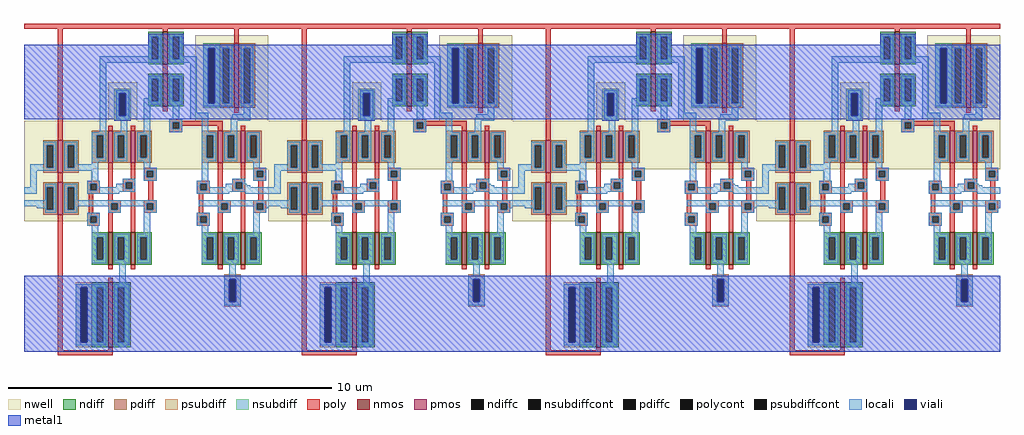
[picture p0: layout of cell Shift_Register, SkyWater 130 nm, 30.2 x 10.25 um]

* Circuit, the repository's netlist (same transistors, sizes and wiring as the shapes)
* NGSPICE file created from Shift_Register.ext - technology: sky130A

.subckt Dlatch_complement GND D_bar D VDD Phi Q Q_bar
X0 VDD a_n910_50# a_n910_310# VDD sky130_fd_pr__pfet_01v8 ad=0.275 pd=1.55 as=0.5 ps=3 w=1 l=0.15
X1 Q_bar Q a_80_370# VDD sky130_fd_pr__pfet_01v8 ad=0.5 pd=3 as=0.275 ps=1.55 w=1 l=0.15
X2 a_n910_50# a_n910_310# VDD VDD sky130_fd_pr__pfet_01v8 ad=0.5 pd=3 as=0.275 ps=1.55 w=1 l=0.15
X3 Q_bar Phi a_n910_50# GND sky130_fd_pr__nfet_01v8 ad=0.5 pd=3 as=0.45 ps=2.9 w=1 l=0.15
X4 a_n600_n770# a_n910_50# a_n910_310# GND sky130_fd_pr__nfet_01v8 ad=0.275 pd=1.55 as=0.5 ps=3 w=1 l=0.15
X5 a_n910_50# Phi D_bar VDD sky130_fd_pr__pfet_01v8 ad=0.5 pd=3 as=0.45 ps=2.9 w=1 l=0.15
X6 a_n600_n770# Phi GND GND sky130_fd_pr__nfet_01v8 ad=1.1 pd=5.1 as=1 ps=5 w=2 l=0.15
X7 a_80_370# Phi VDD VDD sky130_fd_pr__pfet_01v8 ad=1 pd=5 as=0.9 ps=4.9 w=2 l=0.15
X8 Q Phi a_n910_310# GND sky130_fd_pr__nfet_01v8 ad=0.5 pd=3 as=0.45 ps=2.9 w=1 l=0.15
X9 a_n910_310# Phi D VDD sky130_fd_pr__pfet_01v8 ad=0.5 pd=3 as=0.45 ps=2.9 w=1 l=0.15
X10 a_80_370# Q_bar Q VDD sky130_fd_pr__pfet_01v8 ad=0.275 pd=1.55 as=0.5 ps=3 w=1 l=0.15
X11 Q_bar Q GND GND sky130_fd_pr__nfet_01v8 ad=0.5 pd=3 as=0.275 ps=1.55 w=1 l=0.15
X12 GND Q_bar Q GND sky130_fd_pr__nfet_01v8 ad=0.275 pd=1.55 as=0.5 ps=3 w=1 l=0.15
X13 a_n910_50# a_n910_310# a_n600_n770# GND sky130_fd_pr__nfet_01v8 ad=0.5 pd=3 as=0.275 ps=1.55 w=1 l=0.15
.ends

.subckt Latch GND D_bar D VDD Phi Q Q_bar
X0 VDD a_n910_50# a_n910_310# VDD sky130_fd_pr__pfet_01v8 ad=0.275 pd=1.55 as=0.5 ps=3 w=1 l=0.15
X1 Q_bar Q a_80_370# VDD sky130_fd_pr__pfet_01v8 ad=0.5 pd=3 as=0.275 ps=1.55 w=1 l=0.15
X2 a_n910_50# a_n910_310# VDD VDD sky130_fd_pr__pfet_01v8 ad=0.5 pd=3 as=0.275 ps=1.55 w=1 l=0.15
X3 Q_bar Phi a_n910_50# GND sky130_fd_pr__nfet_01v8 ad=0.5 pd=3 as=0.45 ps=2.9 w=1 l=0.15
X4 a_n600_n770# a_n910_50# a_n910_310# GND sky130_fd_pr__nfet_01v8 ad=0.275 pd=1.55 as=0.5 ps=3 w=1 l=0.15
X5 a_n910_50# Phi D_bar VDD sky130_fd_pr__pfet_01v8 ad=0.5 pd=3 as=0.45 ps=2.9 w=1 l=0.15
X6 a_n600_n770# Phi GND GND sky130_fd_pr__nfet_01v8 ad=1.1 pd=5.1 as=1 ps=5 w=2 l=0.15
X7 a_80_370# Phi VDD VDD sky130_fd_pr__pfet_01v8 ad=1 pd=5 as=0.9 ps=4.9 w=2 l=0.15
X8 Q Phi a_n910_310# GND sky130_fd_pr__nfet_01v8 ad=0.5 pd=3 as=0.45 ps=2.9 w=1 l=0.15
X9 a_n910_310# Phi D VDD sky130_fd_pr__pfet_01v8 ad=0.5 pd=3 as=0.45 ps=2.9 w=1 l=0.15
X10 a_80_370# Q_bar Q VDD sky130_fd_pr__pfet_01v8 ad=0.275 pd=1.55 as=0.5 ps=3 w=1 l=0.15
X11 Q_bar Q GND GND sky130_fd_pr__nfet_01v8 ad=0.5 pd=3 as=0.275 ps=1.55 w=1 l=0.15
X12 GND Q_bar Q GND sky130_fd_pr__nfet_01v8 ad=0.275 pd=1.55 as=0.5 ps=3 w=1 l=0.15
X13 a_n910_50# a_n910_310# a_n600_n770# GND sky130_fd_pr__nfet_01v8 ad=0.5 pd=3 as=0.275 ps=1.55 w=1 l=0.15
.ends


* Top level circuit Shift_Register

XDlatch_complement_0 VSUBS Dlatch_complement_0/D_bar Dlatch_complement_0/D Latch_2/VDD
+ Latch_2/Phi Latch_0/D Latch_0/D_bar Dlatch_complement
XLatch_0 VSUBS Latch_0/D_bar Latch_0/D Latch_2/VDD Latch_2/Phi Latch_1/D Latch_1/D_bar
+ Latch
XLatch_1 VSUBS Latch_1/D_bar Latch_1/D Latch_2/VDD Latch_2/Phi Latch_2/D Latch_2/D_bar
+ Latch
XLatch_2 VSUBS Latch_2/D_bar Latch_2/D Latch_2/VDD Latch_2/Phi Latch_2/Q Latch_2/Q_bar
+ Latch
.end

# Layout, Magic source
magic
tech sky130A
use Latch  Latch_0 ~/Documents/MADVLSI/Homework2
transform 1 0 1055 0 1 405
box -575 -410 180 615
use Latch  Latch_1
transform 1 0 1810 0 1 405
box -575 -410 180 615
use Latch  Latch_2
transform 1 0 2565 0 1 405
box -575 -410 180 615
use Latch  Latch_3
transform 1 0 3320 0 1 405
box -575 -410 180 615
<< end >>

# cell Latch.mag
magic
tech sky130A
<< nwell >>
rect -315 315 -225 435
rect -45 315 180 580
rect -575 165 180 315
rect -575 10 -365 165
rect -575 5 -380 10
<< nmos >>
rect -145 490 -130 590
rect -145 360 -130 460
rect -315 -130 -300 -30
rect -245 -130 -230 -30
rect 25 -130 40 -30
rect 95 -130 110 -30
rect -315 -385 -300 -185
<< pmos >>
rect 75 355 90 555
rect -470 155 -455 255
rect -315 185 -300 285
rect -245 185 -230 285
rect 25 185 40 285
rect 95 185 110 285
rect -470 25 -455 125
<< ndiff >>
rect -190 575 -145 590
rect -190 505 -180 575
rect -160 505 -145 575
rect -190 490 -145 505
rect -130 575 -80 590
rect -130 505 -115 575
rect -95 505 -80 575
rect -130 490 -80 505
rect -190 445 -145 460
rect -190 375 -180 445
rect -160 375 -145 445
rect -190 360 -145 375
rect -130 445 -80 460
rect -130 375 -115 445
rect -95 375 -80 445
rect -130 360 -80 375
rect -365 -45 -315 -30
rect -365 -115 -350 -45
rect -330 -115 -315 -45
rect -365 -130 -315 -115
rect -300 -45 -245 -30
rect -300 -115 -285 -45
rect -265 -115 -245 -45
rect -300 -130 -245 -115
rect -230 -45 -180 -30
rect -230 -115 -215 -45
rect -195 -115 -180 -45
rect -230 -130 -180 -115
rect -25 -45 25 -30
rect -25 -115 -10 -45
rect 10 -115 25 -45
rect -25 -130 25 -115
rect 40 -45 95 -30
rect 40 -115 55 -45
rect 75 -115 95 -45
rect 40 -130 95 -115
rect 110 -45 160 -30
rect 110 -115 125 -45
rect 145 -115 160 -45
rect 110 -130 160 -115
rect -365 -200 -315 -185
rect -365 -370 -350 -200
rect -330 -370 -315 -200
rect -365 -385 -315 -370
rect -300 -200 -245 -185
rect -300 -370 -285 -200
rect -265 -370 -245 -200
rect -300 -385 -245 -370
<< pdiff >>
rect 30 540 75 555
rect 30 370 40 540
rect 60 370 75 540
rect 30 355 75 370
rect 90 540 140 555
rect 90 370 105 540
rect 125 370 140 540
rect 90 355 140 370
rect -365 270 -315 285
rect -515 240 -470 255
rect -515 170 -505 240
rect -485 170 -470 240
rect -515 155 -470 170
rect -455 240 -405 255
rect -455 170 -440 240
rect -420 170 -405 240
rect -365 200 -350 270
rect -330 200 -315 270
rect -365 185 -315 200
rect -300 270 -245 285
rect -300 200 -285 270
rect -265 200 -245 270
rect -300 185 -245 200
rect -230 270 -180 285
rect -230 200 -215 270
rect -195 200 -180 270
rect -230 185 -180 200
rect -25 270 25 285
rect -25 200 -10 270
rect 10 200 25 270
rect -25 185 25 200
rect 40 270 95 285
rect 40 200 55 270
rect 75 200 95 270
rect 40 185 95 200
rect 110 270 160 285
rect 110 200 125 270
rect 145 200 160 270
rect 110 185 160 200
rect -455 155 -405 170
rect -515 110 -470 125
rect -515 40 -505 110
rect -485 40 -470 110
rect -515 25 -470 40
rect -455 110 -405 125
rect -455 40 -440 110
rect -420 40 -405 110
rect -455 25 -405 40
<< ndiffc >>
rect -180 505 -160 575
rect -115 505 -95 575
rect -180 375 -160 445
rect -115 375 -95 445
rect -350 -115 -330 -45
rect -285 -115 -265 -45
rect -215 -115 -195 -45
rect -10 -115 10 -45
rect 55 -115 75 -45
rect 125 -115 145 -45
rect -350 -370 -330 -200
rect -285 -370 -265 -200
<< pdiffc >>
rect 40 370 60 540
rect 105 370 125 540
rect -505 170 -485 240
rect -440 170 -420 240
rect -350 200 -330 270
rect -285 200 -265 270
rect -215 200 -195 270
rect -10 200 10 270
rect 55 200 75 270
rect 125 200 145 270
rect -505 40 -485 110
rect -440 40 -420 110
<< psubdiff >>
rect 45 -175 95 -160
rect -415 -200 -365 -185
rect -415 -370 -400 -200
rect -380 -370 -365 -200
rect -415 -385 -365 -370
rect 45 -245 60 -175
rect 80 -245 95 -175
rect 45 -260 95 -245
<< nsubdiff >>
rect -20 540 30 555
rect -295 400 -245 415
rect -295 330 -280 400
rect -260 330 -245 400
rect -20 370 -5 540
rect 15 370 30 540
rect -20 355 30 370
rect -295 315 -245 330
<< psubdiffcont >>
rect -400 -370 -380 -200
rect 60 -245 80 -175
<< nsubdiffcont >>
rect -280 330 -260 400
rect -5 370 15 540
<< poly >>
rect -575 600 180 615
rect -470 255 -455 600
rect -145 590 -130 600
rect 75 555 90 600
rect -145 460 -130 490
rect -145 345 -130 360
rect 75 340 90 355
rect -125 315 -85 320
rect -125 310 40 315
rect -315 285 -300 300
rect -245 285 -230 300
rect -125 290 -115 310
rect -95 300 40 310
rect -95 290 -85 300
rect -125 280 -85 290
rect 25 285 40 300
rect 95 285 110 300
rect -470 125 -455 155
rect -380 120 -340 130
rect -380 100 -370 120
rect -350 100 -340 120
rect -380 90 -340 100
rect -375 30 -360 90
rect -315 70 -300 185
rect -245 135 -230 185
rect -270 125 -230 135
rect -205 160 -165 170
rect -205 140 -195 160
rect -175 140 -165 160
rect -205 130 -165 140
rect -270 105 -260 125
rect -240 105 -230 125
rect -270 95 -230 105
rect -315 60 -275 70
rect -315 40 -305 60
rect -285 40 -275 60
rect -315 30 -275 40
rect -470 -395 -455 25
rect -380 20 -340 30
rect -380 0 -370 20
rect -350 0 -340 20
rect -380 -10 -340 0
rect -315 -30 -300 30
rect -245 -30 -230 95
rect -190 70 -175 130
rect -40 120 0 130
rect -40 100 -30 120
rect -10 100 0 120
rect -40 90 0 100
rect -205 60 -165 70
rect -205 40 -195 60
rect -175 40 -165 60
rect -205 30 -165 40
rect -35 30 -20 90
rect 25 70 40 185
rect 95 135 110 185
rect 70 125 110 135
rect 135 160 175 170
rect 135 140 145 160
rect 165 140 175 160
rect 135 130 175 140
rect 70 105 80 125
rect 100 105 110 125
rect 70 95 110 105
rect 25 60 65 70
rect 25 40 35 60
rect 55 40 65 60
rect 25 30 65 40
rect -40 20 0 30
rect -40 0 -30 20
rect -10 0 0 20
rect -40 -10 0 0
rect 25 -30 40 30
rect 95 -30 110 95
rect 150 70 165 130
rect 135 60 175 70
rect 135 40 145 60
rect 165 40 175 60
rect 135 30 175 40
rect -315 -145 -300 -130
rect -245 -145 -230 -130
rect 25 -145 40 -130
rect 95 -145 110 -130
rect -315 -185 -300 -170
rect -315 -395 -300 -385
rect -470 -410 -300 -395
<< polycont >>
rect -115 290 -95 310
rect -370 100 -350 120
rect -195 140 -175 160
rect -260 105 -240 125
rect -305 40 -285 60
rect -370 0 -350 20
rect -30 100 -10 120
rect -195 40 -175 60
rect 145 140 165 160
rect 80 105 100 125
rect 35 40 55 60
rect -30 0 -10 20
rect 145 40 165 60
<< locali >>
rect -190 575 -150 585
rect -190 515 -180 575
rect -340 505 -180 515
rect -160 505 -150 575
rect -340 495 -150 505
rect -125 575 -85 585
rect -125 505 -115 575
rect -95 515 -85 575
rect -20 540 70 550
rect -95 505 -40 515
rect -125 495 -40 505
rect -340 280 -320 495
rect -190 445 -150 455
rect -290 400 -250 410
rect -290 330 -280 400
rect -260 330 -250 400
rect -190 385 -180 445
rect -290 320 -250 330
rect -205 375 -180 385
rect -160 375 -150 445
rect -205 365 -150 375
rect -125 445 -85 455
rect -125 375 -115 445
rect -95 375 -85 445
rect -125 365 -85 375
rect -275 280 -255 320
rect -205 280 -185 365
rect -115 320 -95 365
rect -60 340 -40 495
rect -20 370 -5 540
rect 15 370 40 540
rect 60 370 70 540
rect -20 360 70 370
rect 95 540 135 550
rect 95 370 105 540
rect 125 370 135 540
rect 95 360 135 370
rect -60 320 -5 340
rect 105 335 125 360
rect 70 325 125 335
rect -125 310 -85 320
rect -125 290 -115 310
rect -95 290 -85 310
rect -125 280 -85 290
rect -25 280 -5 320
rect 65 315 125 325
rect 65 280 85 315
rect -365 270 -320 280
rect -515 240 -475 250
rect -515 180 -505 240
rect -555 170 -505 180
rect -485 170 -475 240
rect -555 160 -475 170
rect -450 240 -410 250
rect -450 170 -440 240
rect -420 180 -410 240
rect -365 200 -350 270
rect -330 200 -320 270
rect -365 190 -320 200
rect -295 270 -255 280
rect -295 200 -285 270
rect -265 200 -255 270
rect -295 190 -255 200
rect -225 270 -185 280
rect -225 200 -215 270
rect -195 200 -185 270
rect -225 190 -185 200
rect -365 180 -345 190
rect -420 170 -345 180
rect -450 160 -345 170
rect -555 110 -535 160
rect -365 130 -345 160
rect -205 170 -185 190
rect -25 270 20 280
rect -25 200 -10 270
rect 10 200 20 270
rect -25 190 20 200
rect 45 270 85 280
rect 45 200 55 270
rect 75 200 85 270
rect 45 190 85 200
rect 115 270 155 280
rect 115 200 125 270
rect 145 200 155 270
rect 115 190 155 200
rect -205 160 -165 170
rect -205 140 -195 160
rect -175 140 -165 160
rect -380 120 -340 130
rect -270 125 -230 135
rect -205 130 -165 140
rect -25 130 -5 190
rect 135 170 155 190
rect 135 160 175 170
rect 135 140 145 160
rect 165 140 175 160
rect -270 120 -260 125
rect -575 90 -535 110
rect -510 110 -475 120
rect -510 70 -505 110
rect -575 50 -505 70
rect -535 45 -505 50
rect -510 40 -505 45
rect -485 40 -475 110
rect -510 30 -475 40
rect -450 110 -410 120
rect -450 40 -440 110
rect -420 70 -410 110
rect -380 100 -370 120
rect -350 110 -340 120
rect -290 110 -260 120
rect -350 105 -260 110
rect -240 105 -230 125
rect -350 100 -230 105
rect -380 95 -230 100
rect -40 120 0 130
rect 70 125 110 135
rect 135 130 175 140
rect 70 120 80 125
rect -40 100 -30 120
rect -10 110 0 120
rect 50 110 80 120
rect -10 105 80 110
rect 100 120 110 125
rect 100 115 115 120
rect 100 110 125 115
rect 100 105 180 110
rect -10 100 180 105
rect -40 95 180 100
rect -380 90 -280 95
rect -40 90 60 95
rect 110 90 180 95
rect -420 60 -165 70
rect -420 50 -305 60
rect -420 40 -410 50
rect -450 30 -410 40
rect -315 40 -305 50
rect -285 50 -195 60
rect -285 40 -275 50
rect -315 30 -275 40
rect -205 40 -195 50
rect -175 40 -165 60
rect -35 60 180 70
rect -35 50 35 60
rect -205 30 -165 40
rect 25 40 35 50
rect 55 50 145 60
rect 55 40 65 50
rect 25 30 65 40
rect 135 40 145 50
rect 165 45 180 60
rect 165 40 175 45
rect 135 30 175 40
rect -380 20 -340 30
rect -380 0 -370 20
rect -350 0 -340 20
rect -380 -10 -340 0
rect -365 -35 -345 -10
rect -205 -35 -185 30
rect -40 20 0 30
rect -40 0 -30 20
rect -10 0 0 20
rect -40 -10 0 0
rect -365 -45 -320 -35
rect -365 -115 -350 -45
rect -330 -115 -320 -45
rect -365 -125 -320 -115
rect -295 -45 -250 -35
rect -295 -115 -285 -45
rect -265 -115 -250 -45
rect -295 -125 -250 -115
rect -225 -45 -185 -35
rect -225 -115 -215 -45
rect -195 -115 -185 -45
rect -225 -125 -185 -115
rect -25 -35 -5 -10
rect 135 -35 155 30
rect -25 -45 20 -35
rect -25 -115 -10 -45
rect 10 -115 20 -45
rect -25 -125 20 -115
rect 45 -45 90 -35
rect 45 -115 55 -45
rect 75 -115 90 -45
rect 45 -125 90 -115
rect 115 -45 155 -35
rect 115 -115 125 -45
rect 145 -115 155 -45
rect 115 -125 155 -115
rect -280 -190 -260 -125
rect 60 -165 80 -125
rect 45 -175 95 -165
rect -415 -200 -320 -190
rect -415 -370 -400 -200
rect -380 -370 -350 -200
rect -330 -370 -320 -200
rect -415 -380 -320 -370
rect -295 -200 -250 -190
rect -295 -370 -285 -200
rect -265 -370 -250 -200
rect 45 -245 60 -175
rect 80 -245 95 -175
rect 45 -255 95 -245
rect -295 -380 -250 -370
rect -280 -385 -260 -380
<< viali >>
rect -280 330 -260 400
rect -5 370 15 540
rect -400 -370 -380 -200
rect 60 -245 80 -175
<< metal1 >>
rect -190 550 -80 585
rect -575 540 180 550
rect -575 400 -5 540
rect -575 330 -280 400
rect -260 370 -5 400
rect 15 370 180 540
rect -260 330 180 370
rect -575 320 180 330
rect -295 315 -245 320
rect -575 -175 180 -165
rect -575 -200 60 -175
rect -575 -370 -400 -200
rect -380 -245 60 -200
rect 80 -245 180 -175
rect -380 -370 180 -245
rect -575 -400 180 -370
<< labels >>
rlabel metal1 -575 445 -575 445 7 VDD
port 4 w
rlabel metal1 -575 -255 -575 -255 7 GND
port 1 w
rlabel locali -575 60 -575 60 7 D_bar
port 2 w
rlabel locali -575 100 -575 100 7 D
port 3 w
rlabel poly -575 605 -575 605 7 Phi
port 5 w
rlabel locali 180 55 180 55 3 Q_bar
port 7 e
rlabel locali 180 100 180 100 3 Q
port 6 e
<< end >>
